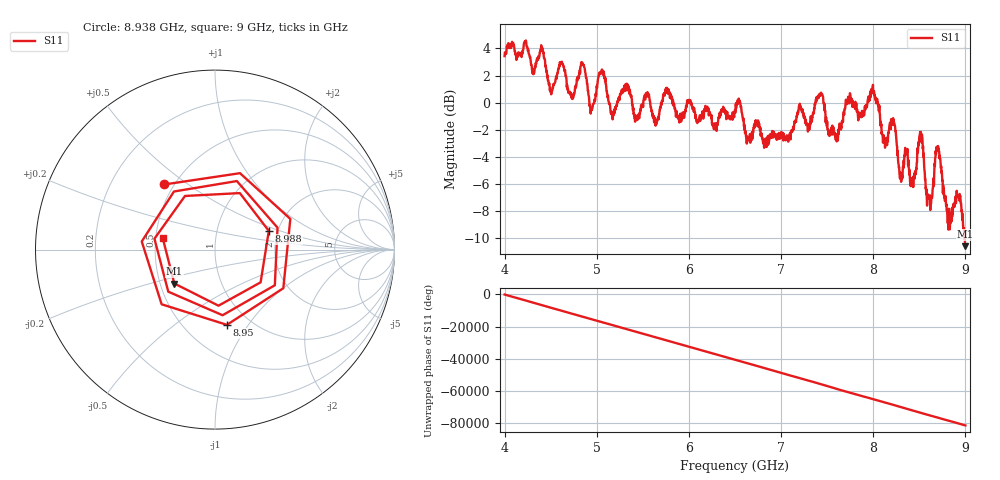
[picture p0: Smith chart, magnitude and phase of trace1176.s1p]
! Created with skrf 1.8.0 (http://scikit-rf.org).
# Hz S RI R 50.0
!freq ReS11 ImS11
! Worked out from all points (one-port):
!   1601 points, 4 GHz to 9 GHz, reference 50 ohm
!   lowest |S11| = -10.6 dB at 8.997 GHz (marker M1), VSWR 1.84, Z = 29.6 - j12.3 ohm
!   |S11| at or under -10 dB: 8.988786 GHz to end of sweep
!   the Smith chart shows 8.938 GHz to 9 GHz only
!   S11 on the Smith chart (normalised r, x): 8.938 GHz: 0.44, +0.41; 8.95 GHz: 0.78, -0.80; 8.988 GHz: 1.79, +0.42; 9 GHz: 0.54, +0.08
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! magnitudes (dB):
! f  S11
! 4 GHz  3.4
! 4.625 GHz  2.9
! 4.731 GHz  0.5
! 4.85 GHz  2.8
! 4.944 GHz  -0.5
! 5.05 GHz  2.2
! 5.25 GHz  0.5
! 5.875 GHz  -0.9
! 6.5 GHz  -0.5
! 7.125 GHz  -2.1
! 7.431 GHz  0.6
! 7.6 GHz  -2.4
! 7.75 GHz  0.6
! 8.003 GHz  0.7
! 8.125 GHz  -2.8
! 8.219 GHz  -1.6
! 8.294 GHz  -5.2
! 8.375 GHz  -4.0
! 8.425 GHz  -5.6
! 8.516 GHz  -2.2
! 8.606 GHz  -7.0
! 8.697 GHz  -3.5
! 8.816 GHz  -9.4
! 8.938 GHz  -6.7
! 8.95 GHz  -7.4
! 8.988 GHz  -10.0
! 8.997 GHz  -10.6
! 9 GHz  -10.5
